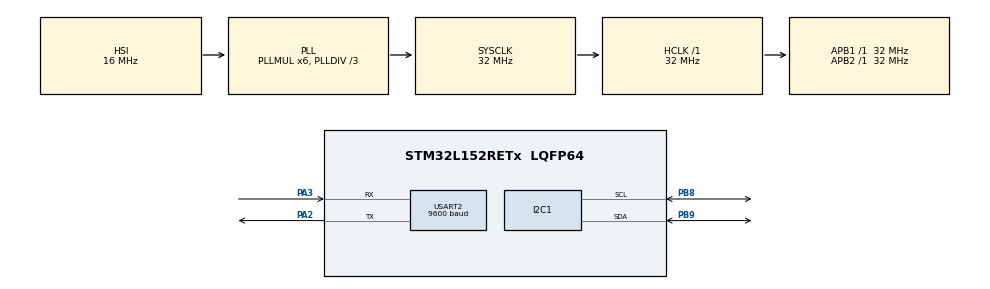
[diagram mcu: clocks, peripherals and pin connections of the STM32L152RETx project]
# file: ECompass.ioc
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Mcu.Family=STM32L1
Mcu.Name=STM32L152RETx
Mcu.Package=LQFP64
NVIC.PriorityGroup=NVIC_PRIORITYGROUP_0
PA13.Mode=Serial_Wire
PA13.Signal=SYS_JTMS-SWDIO
PA14.Mode=Serial_Wire
PA14.Signal=SYS_JTCK-SWCLK
PA2.Mode=Asynchronous
PA2.Signal=USART2_TX
PA3.Mode=Asynchronous
PA3.Signal=USART2_RX
PB8.Mode=I2C
PB8.Signal=I2C1_SCL
PB9.Mode=I2C
PB9.Signal=I2C1_SDA
ProjectManager.HeapSize=0x200
ProjectManager.StackSize=0x400
ProjectManager.TargetToolchain=SW4STM32
RCC.48MHZClocksFreq_Value=48000000
RCC.AHBFreq_Value=32000000
RCC.APB1Freq_Value=32000000
RCC.APB1TimFreq_Value=32000000
RCC.APB2Freq_Value=32000000
RCC.APB2TimFreq_Value=32000000
RCC.HCLKFreq_Value=32000000
RCC.HSE_VALUE=8000000
RCC.HSI_VALUE=16000000
RCC.LSE_VALUE=32768
RCC.MSI_VALUE=2097000
RCC.PLLDIV=RCC_PLL_DIV3
RCC.PLLMUL=RCC_PLL_MUL6
RCC.RTCClockSelectionVirtual=RCC_RTCCLKSOURCE_LSE
RCC.SYSCLKFreq_VALUE=32000000
RCC.SYSCLKSource=RCC_SYSCLKSOURCE_PLLCLK
RCC.USBOutput=48000000
RCC.VCOOutputFreq_Value=96000000
USART2.BaudRate=9600
USART2.VirtualMode=VM_ASYNC
board=NUCLEO-L152RE

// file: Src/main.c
/**
 ******************************************************************************
 * File Name          : main.c
 * Description        : Main program body
 ******************************************************************************
 ** This notice applies to any and all portions of this file
 * that are not between comment pairs USER CODE BEGIN and
 * USER CODE END. Other portions of this file, whether
 * inserted by the user or by software development tools
 * are owned by their respective copyright owners.
 *
 * COPYRIGHT(c) 2017 STMicroelectronics
 *
 * Redistribution and use in source and binary forms, with or without modification,
 * are permitted provided that the following conditions are met:
 *   1. Redistributions of source code must retain the above copyright notice,
 *      this list of conditions and the following disclaimer.
 *   2. Redistributions in binary form must reproduce the above copyright notice,
 *      this list of conditions and the following disclaimer in the documentation
 *      and/or other materials provided with the distribution.
 *   3. Neither the name of STMicroelectronics nor the names of its contributors
 *      may be used to endorse or promote products derived from this software
 *      without specific prior written permission.
 *
 * THIS SOFTWARE IS PROVIDED BY THE COPYRIGHT HOLDERS AND CONTRIBUTORS "AS IS"
 * AND ANY EXPRESS OR IMPLIED WARRANTIES, INCLUDING, BUT NOT LIMITED TO, THE
 * IMPLIED WARRANTIES OF MERCHANTABILITY AND FITNESS FOR A PARTICULAR PURPOSE ARE
 * DISCLAIMED. IN NO EVENT SHALL THE COPYRIGHT HOLDER OR CONTRIBUTORS BE LIABLE
 * FOR ANY DIRECT, INDIRECT, INCIDENTAL, SPECIAL, EXEMPLARY, OR CONSEQUENTIAL
 * DAMAGES (INCLUDING, BUT NOT LIMITED TO, PROCUREMENT OF SUBSTITUTE GOODS OR
 * SERVICES; LOSS OF USE, DATA, OR PROFITS; OR BUSINESS INTERRUPTION) HOWEVER
 * CAUSED AND ON ANY THEORY OF LIABILITY, WHETHER IN CONTRACT, STRICT LIABILITY,
 * OR TORT (INCLUDING NEGLIGENCE OR OTHERWISE) ARISING IN ANY WAY OUT OF THE USE
 * OF THIS SOFTWARE, EVEN IF ADVISED OF THE POSSIBILITY OF SUCH DAMAGE.
 *
 ******************************************************************************
 */

#include "main.h"
#include "stm32l1xx_hal.h"
#include "iks01a2.h"

I2C_HandleTypeDef hi2c1;

UART_HandleTypeDef huart2;

/* USER CODE BEGIN PV */
/* Private variables ---------------------------------------------------------*/

/* USER CODE END PV */

void SystemClock_Config(void);
static void MX_GPIO_Init(void);
static void MX_I2C1_Init(void);
static void MX_USART2_UART_Init(void);

/* USER CODE BEGIN PFP */
/* Private function prototypes -----------------------------------------------*/

/* USER CODE END PFP */

/* USER CODE BEGIN 0 */

uint8_t Data_acc[6];
uint8_t Data_mag[6];

int32_t Xaxis_acc = 0;
int32_t Yaxis_acc = 0;
int32_t Zaxis_acc = 0;
int32_t Xaxis_mag = 0;
int32_t Yaxis_mag = 0;
int32_t Zaxis_mag = 0;

float axes_aF[3];
float axes_aT[3];
float roll, pitch, x, y, h, dir;
uint16_t dirUint16_t;
uint8_t dirUint8_t[2];

/* USER CODE END 0 */

int main(void) {

	/* MCU Configuration----------------------------------------------------------*/

	/* Reset of all peripherals, Initializes the Flash interface and the Systick. */
	HAL_Init();

	/* Configure the system clock */
	SystemClock_Config();

	/* Initialize all configured peripherals */
	MX_GPIO_Init();
	MX_I2C1_Init();
	MX_USART2_UART_Init();

	/* Infinite loop */
	while (1) {

		/* USER CODE BEGIN 3 */

		HAL_I2C_Mem_Read(&hi2c1, LSM303_MAG_ADDRESS,
		LSM303_MAG_X_L_A_MULTI_READ, 1, Data_mag, 6, HAL_MAX_DELAY);
		HAL_Delay(100);
		HAL_I2C_Mem_Read(&hi2c1, LSM303_ACC_ADDRESS,
		LSM303_ACC_X_L_A_MULTI_READ, 1, Data_acc, 6, HAL_MAX_DELAY);

		Xaxis_acc = ((Data_acc[1] << 8) | Data_acc[0]);
		Yaxis_acc = ((Data_acc[3] << 8) | Data_acc[2]);
		Zaxis_acc = ((Data_acc[5] << 8) | Data_acc[4]);

		//Taking sensitivity into account
		Xaxis_mag = (((Data_mag[1] << 8) | Data_mag[0])) * 1.5;
		Yaxis_mag = (((Data_mag[3] << 8) | Data_mag[2])) * 1.5;
		Zaxis_mag = (((Data_mag[5] << 8) | Data_mag[4])) * 1.5;

		axes_aF[0] = (float) Xaxis_acc;
		axes_aF[1] = (float) Yaxis_acc;
		axes_aF[2] = (float) Zaxis_acc;

		// Resolution is 2^(8) = 256
		axes_aT[0] = (axes_aF[0] * 2 / 256);
		axes_aT[1] = (axes_aF[1] * 2 / 256);
		axes_aT[2] = (axes_aF[2] * 2 / 256);

		// Some math to get the thing working
		roll = atan2f(axes_aT[1], axes_aT[2]);
		pitch = atan2f(-axes_aT[0],
				axes_aT[1] * sinf(roll) + axes_aT[2] * cosf(roll));

		x = Xaxis_mag * cosf(pitch)
				+ (Xaxis_mag * sinf(roll) + Yaxis_mag * cosf(roll))
						* sinf(pitch);
		y = Yaxis_mag * sinf(roll) - Xaxis_mag * cosf(roll);

		// Convert to degrees, look in what quadrant the value lays and if it's
		// negative add 360° to achieve correct positioning.
		h = atan2f(y, x);
		dir = h * (180 / 3.1415);
		if (dir < 0)
			dir += 360;

		// Convert for transmission over DASH7
		dirUint16_t = (uint16_t) dir;
		dirUint8_t[1] = dirUint16_t & 0xff;
		dirUint8_t[2] = (dirUint16_t) >> 8;

	}
	/* USER CODE END 3 */

}

/** System Clock Configuration
 */
void SystemClock_Config(void) {

	RCC_OscInitTypeDef RCC_OscInitStruct;
	RCC_ClkInitTypeDef RCC_ClkInitStruct;

	/**Configure the main internal regulator output voltage
	 */
	__HAL_PWR_VOLTAGESCALING_CONFIG(PWR_REGULATOR_VOLTAGE_SCALE1);

	/**Initializes the CPU, AHB and APB busses clocks
	 */
	RCC_OscInitStruct.OscillatorType = RCC_OSCILLATORTYPE_HSI;
	RCC_OscInitStruct.HSIState = RCC_HSI_ON;
	RCC_OscInitStruct.HSICalibrationValue = 16;
	RCC_OscInitStruct.PLL.PLLState = RCC_PLL_ON;
	RCC_OscInitStruct.PLL.PLLSource = RCC_PLLSOURCE_HSI;
	RCC_OscInitStruct.PLL.PLLMUL = RCC_PLL_MUL6;
	RCC_OscInitStruct.PLL.PLLDIV = RCC_PLL_DIV3;
	if (HAL_RCC_OscConfig(&RCC_OscInitStruct) != HAL_OK) {
		_Error_Handler(__FILE__, __LINE__);
	}

	/**Initializes the CPU, AHB and APB busses clocks
	 */
	RCC_ClkInitStruct.ClockType = RCC_CLOCKTYPE_HCLK | RCC_CLOCKTYPE_SYSCLK
			| RCC_CLOCKTYPE_PCLK1 | RCC_CLOCKTYPE_PCLK2;
	RCC_ClkInitStruct.SYSCLKSource = RCC_SYSCLKSOURCE_PLLCLK;
	RCC_ClkInitStruct.AHBCLKDivider = RCC_SYSCLK_DIV1;
	RCC_ClkInitStruct.APB1CLKDivider = RCC_HCLK_DIV1;
	RCC_ClkInitStruct.APB2CLKDivider = RCC_HCLK_DIV1;

	if (HAL_RCC_ClockConfig(&RCC_ClkInitStruct, FLASH_LATENCY_1) != HAL_OK) {
		_Error_Handler(__FILE__, __LINE__);
	}

	/**Configure the Systick interrupt time
	 */
	HAL_SYSTICK_Config(HAL_RCC_GetHCLKFreq() / 1000);

	/**Configure the Systick
	 */
	HAL_SYSTICK_CLKSourceConfig(SYSTICK_CLKSOURCE_HCLK);

	/* SysTick_IRQn interrupt configuration */
	HAL_NVIC_SetPriority(SysTick_IRQn, 0, 0);
}

/* I2C1 init function */
static void MX_I2C1_Init(void) {

	hi2c1.Instance = I2C1;
	hi2c1.Init.ClockSpeed = 100000;
	hi2c1.Init.DutyCycle = I2C_DUTYCYCLE_2;
	hi2c1.Init.OwnAddress1 = 0;
	hi2c1.Init.AddressingMode = I2C_ADDRESSINGMODE_7BIT;
	hi2c1.Init.DualAddressMode = I2C_DUALADDRESS_DISABLE;
	hi2c1.Init.OwnAddress2 = 0;
	hi2c1.Init.GeneralCallMode = I2C_GENERALCALL_DISABLE;
	hi2c1.Init.NoStretchMode = I2C_NOSTRETCH_DISABLE;
	if (HAL_I2C_Init(&hi2c1) != HAL_OK) {
		_Error_Handler(__FILE__, __LINE__);
	}

}

/* USART2 init function */
static void MX_USART2_UART_Init(void) {

	huart2.Instance = USART2;
	huart2.Init.BaudRate = 9600;
	huart2.Init.WordLength = UART_WORDLENGTH_8B;
	huart2.Init.StopBits = UART_STOPBITS_1;
	huart2.Init.Parity = UART_PARITY_NONE;
	huart2.Init.Mode = UART_MODE_TX_RX;
	huart2.Init.HwFlowCtl = UART_HWCONTROL_NONE;
	huart2.Init.OverSampling = UART_OVERSAMPLING_16;
	if (HAL_UART_Init(&huart2) != HAL_OK) {
		_Error_Handler(__FILE__, __LINE__);
	}

}

/** Configure pins as
 * Analog
 * Input
 * Output
 * EVENT_OUT
 * EXTI
 */
static void MX_GPIO_Init(void) {

	/* GPIO Ports Clock Enable */
	__HAL_RCC_GPIOA_CLK_ENABLE()
	;
	__HAL_RCC_GPIOB_CLK_ENABLE()
	;

}

void _Error_Handler(char * file, int line) {
	while (1) {
	}
}

/************************ (C) COPYRIGHT STMicroelectronics *****END OF FILE****/
